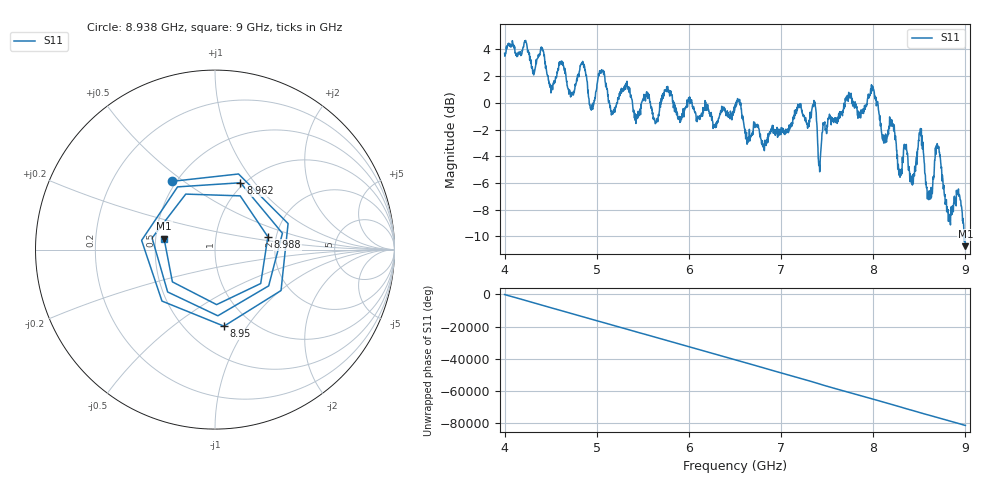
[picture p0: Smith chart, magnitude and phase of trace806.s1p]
! Created with skrf 1.8.0 (http://scikit-rf.org).
# Hz S RI R 50.0
!freq ReS11 ImS11
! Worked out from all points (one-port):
!   1601 points, 4 GHz to 9 GHz, reference 50 ohm
!   lowest |S11| = -10.7 dB at 9 GHz (marker M1), VSWR 1.82, Z = 27.7 + j3.74 ohm
!   |S11| at or under -10 dB: 8.986054 GHz to 8.990816 GHz (4.762 MHz wide, 0.053 % of centre); 8.991247 GHz to end of sweep
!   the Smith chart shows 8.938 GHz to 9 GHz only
!   S11 on the Smith chart (normalised r, x): 8.938 GHz: 0.47, +0.45; 8.95 GHz: 0.75, -0.79; 8.962 GHz: 0.96, +0.85; 8.988 GHz: 1.81, +0.28; 9 GHz: 0.55, +0.07
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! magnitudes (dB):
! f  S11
! 4 GHz  3.7
! 4.625 GHz  3.0
! 4.731 GHz  0.8
! 4.85 GHz  3.1
! 4.944 GHz  -0.5
! 5.044 GHz  2.2
! 5.166 GHz  -0.6
! 5.25 GHz  0.5
! 5.875 GHz  -0.8
! 6.5 GHz  -0.3
! 6.812 GHz  -3.2
! 7.125 GHz  -1.6
! 7.356 GHz  0.2
! 7.419 GHz  -5.2
! 7.75 GHz  0.6
! 7.997 GHz  1.1
! 8.288 GHz  -5.0
! 8.375 GHz  -4.0
! 8.422 GHz  -6.1
! 8.516 GHz  -2.4
! 8.612 GHz  -7.0
! 8.7 GHz  -3.4
! 8.812 GHz  -8.0
! 8.938 GHz  -6.9
! 8.95 GHz  -7.3
! 8.962 GHz  -8.0
! 8.988 GHz  -10.4
! 9 GHz  -10.7
